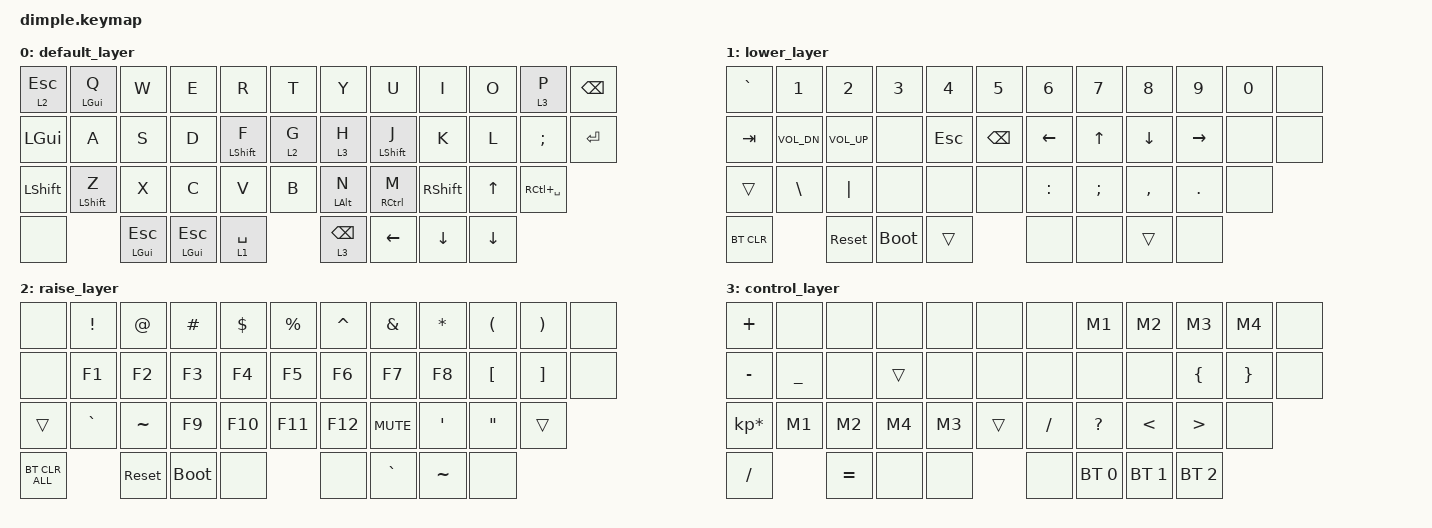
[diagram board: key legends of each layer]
/*
 * Copyright (c) 2022 LAZYDESIGNERS
 *
 * SPDX-License-Identifier: MIT
 */

#include <behaviors.dtsi>
#include <dt-bindings/zmk/bt.h>
#include <dt-bindings/zmk/keys.h>

#define DEFAULT 0
#define LOWER   1
#define RAISE   2
#define CONTROL 3

/ {
    macros {
        M0: M0 {
            compatible = "zmk,behavior-macro";
            label = "M0";
            #binding-cells = <0>;
            bindings =
                <&macro_press>,
                <&kp RCTRL>,
                <&macro_tap>,
                <&kp SPACE>,
                <&macro_release>,
                <&kp RCTRL>;
        };

        M1: M1 {
            compatible = "zmk,behavior-macro";
            label = "M1";
            #binding-cells = <0>;
            bindings = <&kp L &kp A &kp N &kp R &kp U &kp M &kp E &kp N &kp G>;
        };

        M2: M2 {
            compatible = "zmk,behavior-macro";
            label = "M2";
            #binding-cells = <0>;
            bindings = <&kp LS(M) &kp S &kp C &kp N5 &kp N8 &kp N7 &kp N0 &kp N7 &kp N0 &kp N2 &kp M &kp W>;
        };

        M3: M3 {
            compatible = "zmk,behavior-macro";
            label = "M3";
            #binding-cells = <0>;
            bindings = <&kp N5 &kp N8 &kp N7 &kp N0 &kp N7 &kp N0 &kp N2 &kp M &kp S &kp C>;
        };

        M4: M4 {
            compatible = "zmk,behavior-macro";
            label = "M4";
            #binding-cells = <0>;
            bindings = <&kp LS(M) &kp S &kp C &kp N5 &kp N8 &kp N7 &kp N0 &kp N7 &kp N0 &kp N2 &kp EXCL>;
        };
    };

    behaviors {
        Fs: Fs {
            compatible = "zmk,behavior-hold-tap";
            label = "FS";
            bindings = <&kp>, <&kp>;

            #binding-cells = <2>;
            tapping-term-ms = <180>;
            flavor = "tap-preferred";
            hold-trigger-key-positions = <16>;
        };

        Js: Js {
            compatible = "zmk,behavior-hold-tap";
            label = "JS";
            bindings = <&kp>, <&kp>;

            #binding-cells = <2>;
            tapping-term-ms = <180>;
            flavor = "tap-preferred";
            hold-trigger-key-positions = <18>;
        };

        Zs: Zs {
            compatible = "zmk,behavior-hold-tap";
            label = "ZS";
            bindings = <&kp>, <&kp>;

            #binding-cells = <2>;
            tapping-term-ms = <180>;
            flavor = "tap-preferred";
            hold-trigger-key-positions = <24>;
        };

        Na: Na {
            compatible = "zmk,behavior-hold-tap";
            label = "NA";
            bindings = <&kp>, <&kp>;

            #binding-cells = <2>;
            hold-trigger-key-positions = <30>;
            tapping-term-ms = <180>;
        };

        Mc: Mc {
            compatible = "zmk,behavior-hold-tap";
            label = "MC";
            bindings = <&kp>, <&kp>;

            #binding-cells = <2>;
            tapping-term-ms = <180>;
            flavor = "tap-preferred";
            hold-trigger-key-positions = <31>;
        };

        Bs: Bs {
            compatible = "zmk,behavior-hold-tap";
            label = "BS";
            bindings = <&M0>, <&kp>;

            #binding-cells = <2>;
            tapping-term-ms = <180>;
            flavor = "tap-preferred";
            hold-trigger-key-positions = <34>;
        };

        td: td {
            compatible = "zmk,behavior-tap-dance";
            label = "TD";
            #binding-cells = <0>;
            bindings = <&kp LEFT_SHIFT>, <&kp F>;

            tapping-term-ms = <180>;
        };

        TDs: TDs {
            compatible = "zmk,behavior-hold-tap";
            label = "TDS";
            bindings = <&kp>, <&kp>;

            #binding-cells = <2>;
            tapping-term-ms = <180>;
            flavor = "hold-preferred";
        };

        Qgui: Qgui {
            compatible = "zmk,behavior-hold-tap";
            label = "QGUI";
            bindings = <&kp>, <&kp>;

            #binding-cells = <2>;
            tapping-term-ms = <180>;
            flavor = "balanced";
            hold-trigger-key-positions = <1>;
        };

        P3l: P3l {
            compatible = "zmk,behavior-hold-tap";
            label = "P3L";
            bindings = <&mo>, <&kp>;

            #binding-cells = <2>;
            tapping-term-ms = <180>;
            flavor = "balanced";
            hold-trigger-key-positions = <10>;
        };
    };

    keymap {
        compatible = "zmk,keymap";

        default_layer {
            bindings = <
&lt 2 ESC     &Qgui LEFT_GUI Q  &kp W          &kp E          &kp R             &kp T    &kp Y            &kp U                &kp I       &kp O     &P3l 3 P       &kp BSPC
&kp LEFT_GUI  &kp A             &kp S          &kp D          &Fs LEFT_SHIFT F  &lt 2 G  &lt 3 H          &Js LSHIFT J         &kp K       &kp L     &kp SEMI       &kp ENTER
&kp LSHFT     &Zs LEFT_SHIFT Z  &kp X          &kp C          &kp V             &kp B    &Na LEFT_ALT N   &Mc RIGHT_CONTROL M  &kp RSHIFT  &kp UP    &kp RC(SPACE)
&none                           &TDs LGUI ESC  &TDs LGUI ESC  &lt 1 SPACE                &lt 3 BACKSPACE  &kp LEFT             &kp DOWN    &kp DOWN
            >;
        };

        lower_layer {
            bindings = <
&kp GRAVE   &kp NUMBER_1   &kp N2        &kp N3       &kp N4      &kp N5         &kp N6     &kp N7    &kp N8     &kp N9      &kp N0  &none
&kp TAB     &kp C_VOL_DN   &kp C_VOL_UP  &none        &kp ESCAPE  &kp BACKSPACE  &kp LEFT   &kp UP    &kp DOWN   &kp RIGHT   &none   &none
&trans      &kp BACKSLASH  &kp PIPE      &none        &none       &none          &kp COLON  &kp SEMI  &kp COMMA  &kp PERIOD  &none
&bt BT_CLR                 &sys_reset    &bootloader  &trans                     &none      &none     &trans     &none
            >;
        };

        raise_layer {
            bindings = <
&none           &kp EXCL   &kp AT      &kp HASH     &kp DLLR  &kp PRCNT  &kp CARET  &kp AMPS    &kp STAR          &kp LPAR           &kp RPAR           &none
&none           &kp F1     &kp F2      &kp F3       &kp F4    &kp F5     &kp F6     &kp F7      &kp F8            &kp LEFT_BRACKET   &kp RIGHT_BRACKET  &none
&trans          &kp GRAVE  &kp TILDE   &kp F9       &kp F10   &kp F11    &kp F12    &kp C_MUTE  &kp SINGLE_QUOTE  &kp DOUBLE_QUOTES  &trans
&bt BT_CLR_ALL             &sys_reset  &bootloader  &none                &none      &kp GRAVE   &kp TILDE         &none
            >;
        };

        control_layer {
            bindings = <
&kp PLUS         &none      &none      &none   &none  &none   &none      &M1           &M2            &M3               &M4              &none
&kp MINUS        &kp UNDER  &none      &trans  &none  &none   &none      &none         &none          &kp LEFT_BRACE    &kp RIGHT_BRACE  &none
&kp KP_MULTIPLY  &M1        &M2        &M4     &M3    &trans  &kp SLASH  &kp QUESTION  &kp LESS_THAN  &kp GREATER_THAN  &none
&kp SLASH                   &kp EQUAL  &none   &none          &none      &bt BT_SEL 0  &bt BT_SEL 1   &bt BT_SEL 2
            >;
        };
    };
};
